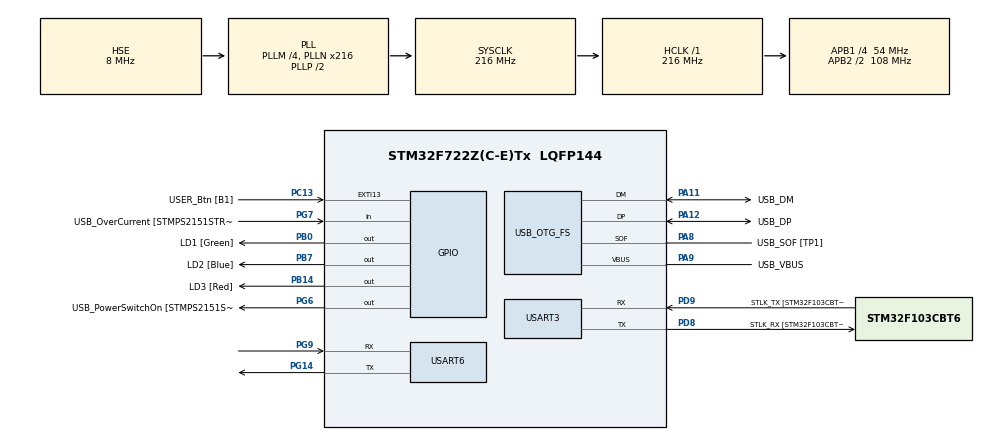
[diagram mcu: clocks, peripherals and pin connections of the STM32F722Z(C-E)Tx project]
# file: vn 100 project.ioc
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Dma.Request0=USART6_RX
Dma.USART6_RX.0.Direction=DMA_PERIPH_TO_MEMORY
Dma.USART6_RX.0.FIFOMode=DMA_FIFOMODE_DISABLE
Dma.USART6_RX.0.Instance=DMA2_Stream1
Dma.USART6_RX.0.MemDataAlignment=DMA_MDATAALIGN_BYTE
Dma.USART6_RX.0.MemInc=DMA_MINC_ENABLE
Dma.USART6_RX.0.Mode=DMA_CIRCULAR
Dma.USART6_RX.0.PeriphDataAlignment=DMA_PDATAALIGN_BYTE
Dma.USART6_RX.0.PeriphInc=DMA_PINC_DISABLE
Dma.USART6_RX.0.Priority=DMA_PRIORITY_HIGH
Mcu.Family=STM32F7
Mcu.Name=STM32F722Z(C-E)Tx
Mcu.Package=LQFP144
NVIC.DMA2_Stream1_IRQn=true\:1\:0\:true\:false\:true\:false\:true\:true
NVIC.PriorityGroup=NVIC_PRIORITYGROUP_4
NVIC.USART6_IRQn=true\:1\:0\:true\:false\:true\:true\:true\:true
PA10.GPIO_Label=USB_ID
PA10.Signal=USB_OTG_FS_ID
PA11.GPIO_Label=USB_DM
PA11.Mode=Device_Only
PA11.Signal=USB_OTG_FS_DM
PA12.GPIO_Label=USB_DP
PA12.Mode=Device_Only
PA12.Signal=USB_OTG_FS_DP
PA13.GPIO_Label=TMS
PA13.Mode=Serial_Wire
PA13.Signal=SYS_JTMS-SWDIO
PA14.GPIO_Label=TCK
PA14.Mode=Serial_Wire
PA14.Signal=SYS_JTCK-SWCLK
PA8.GPIO_Label=USB_SOF [TP1]
PA8.Mode=Activate_SOF_FS
PA8.Signal=USB_OTG_FS_SOF
PA9.GPIO_Label=USB_VBUS
PA9.Mode=Activate_VBUS
PA9.Signal=USB_OTG_FS_VBUS
PB0.GPIO_Label=LD1 [Green]
PB0.Signal=GPIO_Output
PB14.GPIO_Label=LD3 [Red]
PB14.Signal=GPIO_Output
PB3.GPIO_Label=SWO
PB3.Signal=SYS_JTDO-SWO
PB7.GPIO_Label=LD2 [Blue]
PB7.Signal=GPIO_Output
PC13.GPIO_Label=USER_Btn [B1]
PC13.Signal=GPXTI13
PC14-OSC32_IN.Mode=LSE-External-Oscillator
PC14-OSC32_IN.Signal=RCC_OSC32_IN
PC15-OSC32_OUT.Mode=LSE-External-Oscillator
PC15-OSC32_OUT.Signal=RCC_OSC32_OUT
PD8.GPIO_Label=STLK_RX [STM32F103CBT6_PA3]
PD8.Mode=Asynchronous
PD8.Signal=USART3_TX
PD9.GPIO_Label=STLK_TX [STM32F103CBT6_PA2]
PD9.Mode=Asynchronous
PD9.Signal=USART3_RX
PG14.Mode=Asynchronous
PG14.Signal=USART6_TX
PG6.GPIO_Label=USB_PowerSwitchOn [STMPS2151STR_EN]
PG6.Signal=GPIO_Output
PG7.GPIO_Label=USB_OverCurrent [STMPS2151STR_FAULT]
PG7.Signal=GPIO_Input
PG9.Mode=Asynchronous
PG9.Signal=USART6_RX
PH0-OSC_IN.GPIO_Label=MCO
PH0-OSC_IN.Mode=HSE-External-Clock-Source
PH0-OSC_IN.Signal=RCC_OSC_IN
PH1-OSC_OUT.Mode=HSE-External-Clock-Source
PH1-OSC_OUT.Signal=RCC_OSC_OUT
ProjectManager.HeapSize=0x200
ProjectManager.StackSize=0x400
ProjectManager.TargetToolchain=STM32CubeIDE
RCC.48MHZClocksFreq_Value=24000000
RCC.AHBFreq_Value=216000000
RCC.APB1CLKDivider=RCC_HCLK_DIV4
RCC.APB1Freq_Value=54000000
RCC.APB1TimFreq_Value=108000000
RCC.APB2CLKDivider=RCC_HCLK_DIV2
RCC.APB2Freq_Value=108000000
RCC.APB2TimFreq_Value=216000000
RCC.CortexFreq_Value=216000000
RCC.HCLKFreq_Value=216000000
RCC.HSE_VALUE=8000000
RCC.HSI_VALUE=16000000
RCC.PLLM=4
RCC.PLLMUL=RCC_PLL_MUL9
RCC.PLLN=216
RCC.PLLQ=9
RCC.PRESCALERUSB=RCC_USBCLKSOURCE_PLL_DIV1_5
RCC.SYSCLKFreq_VALUE=216000000
RCC.SYSCLKSource=RCC_SYSCLKSOURCE_PLLCLK
RCC.SYSCLKSourceVirtual=RCC_SYSCLKSOURCE_PLLCLK
RCC.USBFreq_Value=48000000
RCC.VCOOutputFreq_Value=432000000
USART3.VirtualMode-Asynchronous=VM_ASYNC
USART6.VirtualMode-Asynchronous=VM_ASYNC
USB_OTG_FS.VirtualMode=Device_Only
board=NUCLEO-F722ZE

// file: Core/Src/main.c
/* USER CODE BEGIN Header */
/**
  ******************************************************************************
  * @file           : main.c
  * @brief          : Main program body
  ******************************************************************************
  * @attention
  *
  * Copyright (c) 2026 STMicroelectronics.
  * All rights reserved.
  *
  * This software is licensed under terms that can be found in the LICENSE file
  * in the root directory of this software component.
  * If no LICENSE file comes with this software, it is provided AS-IS.
  *
  ******************************************************************************
  */
/* USER CODE END Header */
#include "main.h"

/* USER CODE BEGIN Includes */
#include "vn100.h"
#include "vn100_port_stm32.h"
#include "vn100_protocol.h"
#include "vn100_binary.h"
#include "host_link.h"
#include <stdio.h>
/* USER CODE END Includes */

/* USER CODE BEGIN PD */

/* TX timeout to the PC (VCP) - 30 ms: the HAL timeout is a SINGLE budget for
   the WHOLE transfer; 10 ms (~115 B ceiling) would truncate a 12-float
   $VNRRG response (~160 B, buffer 256 B, ~22 ms) EVERY TIME. The VCP applies
   no back-pressure, so blocking is bounded by wire time. Details:
   protocol.md sec 8. */
#define HOST_TX_TIMEOUT_MS 30U

/**
 * Ground-station relay: the STM32 re-publishes every new VN-100 measurement
 * as a clean $VNYMR line to the PC (USART3 / ST-Link VCP), which the
 * dashboard parses. Closes the "dashboard <-> STM32 <-> VN-100" data path
 * over the same VCP as the host command channel (command responses start
 * with "VN...", so they don't interfere with $VNYMR parsing).
 *
 * VN_RELAY_HUMAN=1 additionally prints a 4 Hz human-readable debug line
 * (ignored by the parser; terminal reading only).
 */
#define VN_RELAY_HUMAN   0

/* USER CODE END PD */

UART_HandleTypeDef huart3;
UART_HandleTypeDef huart6;
DMA_HandleTypeDef hdma_usart6_rx;

PCD_HandleTypeDef hpcd_USB_OTG_FS;

/* USER CODE BEGIN PV */

/* FW-F1: FORCE-links newlib-nano's float-printf support - the IN-CODE
   equivalent of the '-u _printf_float' linker flag: creates an undefined
   global symbol, so the linker pulls the float-printf object out of libc to
   resolve it. PRESERVED even if .cproject/the makefile is regenerated (it
   lives in USER CODE). Without it, all %f output (relay $VNYMR + Reg 23/84
   calibration writes) comes out BLANK on real hardware - a SILENT failure
   (invisible in the simulator, since Python uses real floats). BELT+
   SUSPENDERS: the same '-u _printf_float' flag is also in .cproject's
   linker "Other flags" (two independent mechanisms). On first flash,
   visually confirm a known float (e.g. 9.81) doesn't print blank; CubeIDE's
   "Use float with printf from newlib-nano" checkbox can also stay
   checked. */
__asm__(".global _printf_float");

/** VN-100 portable core + STM32 port */
vn100_t       hvn;
vn100_stm32_t hvn_stm;

/** Host command channel (PC <-> STM32) */
host_link_t   hhl;

/** Relay state: packet counter of the last measurement forwarded to the PC (detects new data) */
static uint32_t last_relay_count = 0U;

#if VN_RELAY_HUMAN
/** Timing variable for the optional human-readable debug output */
static uint32_t last_print_tick = 0U;
#endif

/* Relay drop counters - make SILENT loss VISIBLE: without them, a
   missing/truncated frame (HAL_UART_Transmit failure or encoding overflow)
   could go out to the PC with no trace anywhere. Readable via debugger (or,
   later, a 'VN STATS' verb). NOTE: only meaningful on REAL HARDWARE. */
static volatile uint32_t g_host_tx_drop = 0U;      /* TX to PC failed/timed out */
static volatile uint32_t g_relay_encode_fail = 0U; /* frame encoding failed (buffer overflow) */

/* USER CODE END PV */

void SystemClock_Config(void);
static void MX_GPIO_Init(void);
static void MX_DMA_Init(void);
static void MX_USART3_UART_Init(void);
static void MX_USB_OTG_FS_PCD_Init(void);
static void MX_USART6_UART_Init(void);
/* USER CODE BEGIN PFP */
static void on_vn_packet(const vn100_data_t *d, void *user);
static void on_vn_error(vn100_status_t err, void *user);
static void vn_relay(void);
static void vn_forward_response(void);
#if VN_RELAY_HUMAN
static void vn_debug_print(void);
#endif
static int  host_reply(void *ctx, const uint8_t *data, uint16_t len);
static void bringup_detect_baud(void);
/* USER CODE END PFP */

int main(void)
{

  /* MCU Configuration--------------------------------------------------------*/

  /* Reset of all peripherals, Initializes the Flash interface and the Systick. */
  HAL_Init();

  /* Configure the system clock */
  SystemClock_Config();

  /* Initialize all configured peripherals */
  MX_GPIO_Init();
  MX_DMA_Init();
  MX_USART3_UART_Init();
  MX_USB_OTG_FS_PCD_Init();
  MX_USART6_UART_Init();
  /* USER CODE BEGIN 2 */

  /* -- Protocol + binary self-test (no hardware required) -- */
  /* Same vectors as Python: xor("VNYMR")=0x5E, crc16("123456789")=0x31C3 */
  if (!vn100_protocol_selftest() || !vn100_binary_selftest())
  {
      HAL_GPIO_WritePin(LD3_GPIO_Port, LD3_Pin, GPIO_PIN_SET);  /* LD3 red - self-test failure */
      Error_Handler();
  }

  /* -- VN-100 core + STM32 port -- */
  if (vn100_stm32_init(&hvn_stm, &hvn, &huart6,
                       on_vn_packet, on_vn_error, NULL) != VN100_OK)
  {
      HAL_GPIO_WritePin(LD3_GPIO_Port, LD3_Pin, GPIO_PIN_SET);
      Error_Handler();
  }

  /* Start circular DMA RX + IDLE */
  if (vn100_stm32_start(&hvn_stm) != VN100_OK)
  {
      HAL_GPIO_WritePin(LD3_GPIO_Port, LD3_Pin, GPIO_PIN_SET);
      Error_Handler();
  }

  /* -- Host command channel (PC <-> STM32, USART3 VCP) -- */
  host_link_init(&hhl, &hvn, host_reply, NULL);
  __HAL_UART_ENABLE_IT(&huart3, UART_IT_RXNE);       /* enable the RX interrupt in code */
  HAL_NVIC_SetPriority(USART3_IRQn, 5, 0);
  HAL_NVIC_EnableIRQ(USART3_IRQn);

  /* -- Bring-up: detect the sensor's actual baud rate --
     If the sensor's saved baud isn't 115200 (e.g. previously set to
     921600), try candidate rates and stay on whichever has data flowing;
     fall back to 115200 if none do. Called AFTER host_link_init so PC
     commands are still processed during the scan. */
  bringup_detect_baud();

  /* -- Deterministic startup: set the sensor to default ASCII $VNYMR @ 50 Hz --
     (demo mode; 'VN MODE BINARY' switches to 200 Hz binary in normal
     operation.) Ensures the stream starts in the format firmware expects
     after reset, instead of trusting whatever the sensor had saved (baud
     already confirmed by bringup_detect_baud). */
  (void)vn100_set_output_mode(&hvn, VN100_FMT_ASCII, 50U);

  /* Blue LED - system ready */
  HAL_GPIO_WritePin(LD2_GPIO_Port, LD2_Pin, GPIO_PIN_SET);

  /* USER CODE END 2 */

  /* Infinite loop */
  while (1)
  {

    /* USER CODE BEGIN 3 */

    /* Process host commands (dashboard -> STM32 -> VN-100) */
    host_link_process(&hhl);

    /* -- Ground-station relay: forward new measurements to the PC as $VNYMR -- */
    vn_relay();

    /* -- Forward sensor command responses ($VNRRG/$VNWRG) to the PC -- */
    vn_forward_response();

#if VN_RELAY_HUMAN
    /* -- Optional human-readable debug output (250 ms = 4 Hz) -- */
    if ((HAL_GetTick() - last_print_tick) >= 250U)
    {
        last_print_tick = HAL_GetTick();
        vn_debug_print();
    }
#endif

  }
  /* USER CODE END 3 */
}

void SystemClock_Config(void)
{
  RCC_OscInitTypeDef RCC_OscInitStruct = {0};
  RCC_ClkInitTypeDef RCC_ClkInitStruct = {0};

  /** Configure LSE Drive Capability
  */
  HAL_PWR_EnableBkUpAccess();

  /** Configure the main internal regulator output voltage
  */
  __HAL_RCC_PWR_CLK_ENABLE();
  __HAL_PWR_VOLTAGESCALING_CONFIG(PWR_REGULATOR_VOLTAGE_SCALE1);

  /** Initializes the RCC Oscillators according to the specified parameters
  * in the RCC_OscInitTypeDef structure.
  */
  RCC_OscInitStruct.OscillatorType = RCC_OSCILLATORTYPE_HSE;
  RCC_OscInitStruct.HSEState = RCC_HSE_BYPASS;
  RCC_OscInitStruct.PLL.PLLState = RCC_PLL_ON;
  RCC_OscInitStruct.PLL.PLLSource = RCC_PLLSOURCE_HSE;
  RCC_OscInitStruct.PLL.PLLM = 4;
  RCC_OscInitStruct.PLL.PLLN = 216;
  RCC_OscInitStruct.PLL.PLLP = RCC_PLLP_DIV2;
  RCC_OscInitStruct.PLL.PLLQ = 9;
  if (HAL_RCC_OscConfig(&RCC_OscInitStruct) != HAL_OK)
  {
    Error_Handler();
  }

  /** Activate the Over-Drive mode
  */
  if (HAL_PWREx_EnableOverDrive() != HAL_OK)
  {
    Error_Handler();
  }

  /** Initializes the CPU, AHB and APB buses clocks
  */
  RCC_ClkInitStruct.ClockType = RCC_CLOCKTYPE_HCLK|RCC_CLOCKTYPE_SYSCLK
                              |RCC_CLOCKTYPE_PCLK1|RCC_CLOCKTYPE_PCLK2;
  RCC_ClkInitStruct.SYSCLKSource = RCC_SYSCLKSOURCE_PLLCLK;
  RCC_ClkInitStruct.AHBCLKDivider = RCC_SYSCLK_DIV1;
  RCC_ClkInitStruct.APB1CLKDivider = RCC_HCLK_DIV4;
  RCC_ClkInitStruct.APB2CLKDivider = RCC_HCLK_DIV2;

  if (HAL_RCC_ClockConfig(&RCC_ClkInitStruct, FLASH_LATENCY_7) != HAL_OK)
  {
    Error_Handler();
  }
}

static void MX_USART3_UART_Init(void)
{

  huart3.Instance = USART3;
  huart3.Init.BaudRate = 115200;
  huart3.Init.WordLength = UART_WORDLENGTH_8B;
  huart3.Init.StopBits = UART_STOPBITS_1;
  huart3.Init.Parity = UART_PARITY_NONE;
  huart3.Init.Mode = UART_MODE_TX_RX;
  huart3.Init.HwFlowCtl = UART_HWCONTROL_NONE;
  huart3.Init.OverSampling = UART_OVERSAMPLING_16;
  huart3.Init.OneBitSampling = UART_ONE_BIT_SAMPLE_DISABLE;
  huart3.AdvancedInit.AdvFeatureInit = UART_ADVFEATURE_NO_INIT;
  if (HAL_UART_Init(&huart3) != HAL_OK)
  {
    Error_Handler();
  }

}

static void MX_USART6_UART_Init(void)
{

  huart6.Instance = USART6;
  huart6.Init.BaudRate = 115200;
  huart6.Init.WordLength = UART_WORDLENGTH_8B;
  huart6.Init.StopBits = UART_STOPBITS_1;
  huart6.Init.Parity = UART_PARITY_NONE;
  huart6.Init.Mode = UART_MODE_TX_RX;
  huart6.Init.HwFlowCtl = UART_HWCONTROL_NONE;
  huart6.Init.OverSampling = UART_OVERSAMPLING_16;
  huart6.Init.OneBitSampling = UART_ONE_BIT_SAMPLE_DISABLE;
  huart6.AdvancedInit.AdvFeatureInit = UART_ADVFEATURE_NO_INIT;
  if (HAL_UART_Init(&huart6) != HAL_OK)
  {
    Error_Handler();
  }

}

static void MX_USB_OTG_FS_PCD_Init(void)
{

  hpcd_USB_OTG_FS.Instance = USB_OTG_FS;
  hpcd_USB_OTG_FS.Init.dev_endpoints = 6;
  hpcd_USB_OTG_FS.Init.speed = PCD_SPEED_FULL;
  hpcd_USB_OTG_FS.Init.dma_enable = DISABLE;
  hpcd_USB_OTG_FS.Init.phy_itface = PCD_PHY_EMBEDDED;
  hpcd_USB_OTG_FS.Init.Sof_enable = ENABLE;
  hpcd_USB_OTG_FS.Init.low_power_enable = DISABLE;
  hpcd_USB_OTG_FS.Init.lpm_enable = DISABLE;
  hpcd_USB_OTG_FS.Init.battery_charging_enable = ENABLE;
  hpcd_USB_OTG_FS.Init.vbus_sensing_enable = ENABLE;
  hpcd_USB_OTG_FS.Init.use_dedicated_ep1 = DISABLE;
  if (HAL_PCD_Init(&hpcd_USB_OTG_FS) != HAL_OK)
  {
    Error_Handler();
  }

}

static void MX_DMA_Init(void)
{

  /* DMA controller clock enable */
  __HAL_RCC_DMA2_CLK_ENABLE();

  /* DMA interrupt init */
  /* DMA2_Stream1_IRQn interrupt configuration */
  HAL_NVIC_SetPriority(DMA2_Stream1_IRQn, 1, 0);
  HAL_NVIC_EnableIRQ(DMA2_Stream1_IRQn);

}

static void MX_GPIO_Init(void)
{
  GPIO_InitTypeDef GPIO_InitStruct = {0};

  /* GPIO Ports Clock Enable */
  __HAL_RCC_GPIOC_CLK_ENABLE();
  __HAL_RCC_GPIOH_CLK_ENABLE();
  __HAL_RCC_GPIOB_CLK_ENABLE();
  __HAL_RCC_GPIOD_CLK_ENABLE();
  __HAL_RCC_GPIOG_CLK_ENABLE();
  __HAL_RCC_GPIOA_CLK_ENABLE();

  /*Configure GPIO pin Output Level */
  HAL_GPIO_WritePin(GPIOB, LD1_Pin|LD3_Pin|LD2_Pin, GPIO_PIN_RESET);

  /*Configure GPIO pin Output Level */
  HAL_GPIO_WritePin(USB_PowerSwitchOn_GPIO_Port, USB_PowerSwitchOn_Pin, GPIO_PIN_RESET);

  /*Configure GPIO pin : USER_Btn_Pin */
  GPIO_InitStruct.Pin = USER_Btn_Pin;
  GPIO_InitStruct.Mode = GPIO_MODE_IT_RISING;
  GPIO_InitStruct.Pull = GPIO_NOPULL;
  HAL_GPIO_Init(USER_Btn_GPIO_Port, &GPIO_InitStruct);

  /*Configure GPIO pins : LD1_Pin LD3_Pin LD2_Pin */
  GPIO_InitStruct.Pin = LD1_Pin|LD3_Pin|LD2_Pin;
  GPIO_InitStruct.Mode = GPIO_MODE_OUTPUT_PP;
  GPIO_InitStruct.Pull = GPIO_NOPULL;
  GPIO_InitStruct.Speed = GPIO_SPEED_FREQ_LOW;
  HAL_GPIO_Init(GPIOB, &GPIO_InitStruct);

  /*Configure GPIO pin : USB_PowerSwitchOn_Pin */
  GPIO_InitStruct.Pin = USB_PowerSwitchOn_Pin;
  GPIO_InitStruct.Mode = GPIO_MODE_OUTPUT_PP;
  GPIO_InitStruct.Pull = GPIO_NOPULL;
  GPIO_InitStruct.Speed = GPIO_SPEED_FREQ_LOW;
  HAL_GPIO_Init(USB_PowerSwitchOn_GPIO_Port, &GPIO_InitStruct);

  /*Configure GPIO pin : USB_OverCurrent_Pin */
  GPIO_InitStruct.Pin = USB_OverCurrent_Pin;
  GPIO_InitStruct.Mode = GPIO_MODE_INPUT;
  GPIO_InitStruct.Pull = GPIO_NOPULL;
  HAL_GPIO_Init(USB_OverCurrent_GPIO_Port, &GPIO_InitStruct);

}

/* USER CODE BEGIN 4 */

/**
  * @brief  Successful-packet callback - toggles the green LED.
  * @note   LED/GPIO is the APPLICATION's responsibility, not the core's (for portability).
  */
static void on_vn_packet(const vn100_data_t *d, void *user)
{
    (void)d; (void)user;
    HAL_GPIO_TogglePin(LD1_GPIO_Port, LD1_Pin);   /* LD1 green - valid packet */
}

/**
  * @brief  Error callback - toggles the red LED.
  */
static void on_vn_error(vn100_status_t err, void *user)
{
    (void)err; (void)user;
    HAL_GPIO_TogglePin(LD3_GPIO_Port, LD3_Pin);  /* LD3 red - error */
}

/**
  * @brief  Forwards a new measurement to the PC (VCP) as a $VNYMR line, if one arrived.
  * @note   Called from the main loop (not an ISR), so the blocking
  *         HAL_UART_Transmit is safe. Always sends the LATEST data; if the
  *         loop can't keep up with the sensor rate, intermediate packets
  *         are skipped (correct for a live view). %f output requires
  *         "float with printf" (newlib-nano). Could move to DMA-TX later
  *         for higher throughput.
  */
static void vn_relay(void)
{
    vn100_data_t d;
    char     abuf[160];                 /* ASCII $VNYMR buffer */
    uint8_t  bbuf[VN100_BIN_FRAME_LEN]; /* binary frame buffer */
    int  n;
    uint32_t cnt;

    /* Measurement AND packet_count are read in a SINGLE critical section:
       reading the counter outside it could let an ISR insert a new packet
       in between, publishing the same measurement twice (a repeated frame
       in the latest-sample relay). */
    if (!vn100_get_data_counted(&hvn, &d, &cnt))
    {
        return;
    }
    if (cnt == last_relay_count)
    {
        return;                         /* no new data */
    }
    last_relay_count = cnt;

    /* Stream goes out in the selected format (hhl.out_fmt, set via VN
       MODE): BINARY -> 42B frame; ASCII -> $VNYMR line. The PC's dual-mode
       parser decodes whichever arrives; command responses always arrive as
       ASCII and the parser separates them out. */
    if (hhl.out_fmt == VN100_FMT_BINARY)
    {
        n = vn100_binary_encode(bbuf, (int)sizeof(bbuf), &d);
        if (n > 0)
        {
            if (HAL_UART_Transmit(&huart3, bbuf, (uint16_t)n,
                                  HOST_TX_TIMEOUT_MS) != HAL_OK)
            {
                g_host_tx_drop++;          /* make a truncated/dropped frame VISIBLE */
            }
        }
        else
        {
            g_relay_encode_fail++;         /* encoding overflowed -> don't drop the frame SILENTLY */
        }
    }
    else
    {
        n = vn100_encode_vnymr(abuf, (int)sizeof(abuf), &d);
        if (n > 0)
        {
            if (HAL_UART_Transmit(&huart3, (uint8_t *)abuf, (uint16_t)n,
                                  HOST_TX_TIMEOUT_MS) != HAL_OK)
            {
                g_host_tx_drop++;
            }
        }
        else
        {
            g_relay_encode_fail++;
        }
    }
}

/**
  * @brief  Forwards a command response from the sensor ($VNRRG/$VNWRG) to the PC (VCP).
  * @note   How register reads (e.g. Reg 46/47 HSI status) reach the PC: the
  *         sensor's reply arrives on USART6, the core places it in the
  *         mailbox, and this function forwards it verbatim from the main
  *         loop.
  */
static void vn_forward_response(void)
{
    char resp[VN100_RESP_MAX];
    uint16_t rlen = 0U;

    /* Drain the response QUEUE COMPLETELY each pass, so back-to-back
       $VNRRG responses (e.g. Reg 23+44 for a snapshot) all go out in the
       same pass, not one at a time. */
    while (vn100_take_response(&hvn, resp, sizeof(resp), &rlen) && (rlen > 0U))
    {
        HAL_UART_Transmit(&huart3, (uint8_t *)resp, rlen, HOST_TX_TIMEOUT_MS);
    }
}

#if VN_RELAY_HUMAN
/**
  * @brief  Prints the latest IMU data over USART3 (ST-Link VCP).
  * @note   %f output requires "Use float with printf" (newlib-nano) enabled
  *         in the project settings; otherwise numbers print blank.
  */
static void vn_debug_print(void)
{
    vn100_data_t d;
    char buf[160];
    int len;

    if (!vn100_get_data(&hvn, &d))
    {
        const char msg[] = "[VN100] Waiting for data...\r\n";
        HAL_UART_Transmit(&huart3, (uint8_t *)msg, (uint16_t)(sizeof(msg) - 1U), 100U);
        return;
    }

    len = snprintf(buf, sizeof(buf),
                   "[VN100] YPR: %7.2f %7.2f %7.2f | Gyro: %7.4f %7.4f %7.4f | "
                   "Acc: %6.2f %6.2f %6.2f | Pkt:%lu Err:%lu\r\n",
                   d.yaw, d.pitch, d.roll,
                   d.gyro_x, d.gyro_y, d.gyro_z,
                   d.accel_x, d.accel_y, d.accel_z,
                   (unsigned long)hvn.packet_count,
                   (unsigned long)hvn.error_count);

    if (len > 0)
    {
        HAL_UART_Transmit(&huart3, (uint8_t *)buf, (uint16_t)len, 100U);
    }
}
#endif /* VN_RELAY_HUMAN */

/**
  * @brief  Host channel reply function - writes to the PC over USART3 (VCP).
  */
static int host_reply(void *ctx, const uint8_t *data, uint16_t len)
{
    (void)ctx;
    return (HAL_UART_Transmit(&huart3, (uint8_t *)data, len, HOST_TX_TIMEOUT_MS) == HAL_OK)
               ? (int)len : -1;
}

/* -- Also drain the ring on DMA half/full-transfer --------------
   Draining can't depend on IDLE alone: under a continuous/high-Hz stream
   the ring must not be overwritten before being read, even if the line
   never goes idle. HAL calls these weak callbacks from the DMA IRQ; trigger
   vn100_stm32_drain() for USART6 (the sensor). */
void HAL_UART_RxHalfCpltCallback(UART_HandleTypeDef *huart)
{
    if (huart == &huart6)
    {
        vn100_stm32_drain(&hvn_stm);
    }
}

void HAL_UART_RxCpltCallback(UART_HandleTypeDef *huart)
{
    if (huart == &huart6)
    {
        vn100_stm32_drain(&hvn_stm);
    }
}

/* -- Reset DMA reception on a sensor-line error ----------------
   Flags are cleared in the USART6 ISR before HAL sees them, so this
   callback rarely fires; it's still a SAFETY NET that restarts reception if
   an error ever cancels the DMA. */
void HAL_UART_ErrorCallback(UART_HandleTypeDef *huart)
{
    if (huart == &huart6)
    {
        HAL_UART_DMAStop(&huart6);
        (void)vn100_stm32_start(&hvn_stm);          /* re-arm: last_pos=0 + restart circular DMA */
        HAL_GPIO_WritePin(LD3_GPIO_Port, LD3_Pin, GPIO_PIN_SET);  /* red LED: line error */
    }
}

/* -- Bring-up automatic baud detection --------------------------
   If the sensor's saved baud isn't 115200 (e.g. previously set to 921600),
   the STM32's 115200 commands come out as garbage and the link dies. Tries
   each candidate in turn, stays on whichever has valid packets flowing, and
   falls back to 115200 (the out-of-box default) if none do - a failed scan
   is at worst the previous (safe) behavior.
   NOTE: only verifiable on REAL hardware; the simulator has no USART6.
   LIMIT: the detection signal is only a valid $VNYMR/binary packet
   (packet_count). If the sensor was previously saved with a DIFFERENT
   async message type (e.g. $VNQMR) AND a non-standard baud, no packets are
   counted at that baud and it falls back to 115200 (a narrow edge case; a
   factory-fresh sensor works fine at 115200). The IDLE interrupt also stays
   enabled across the baud switch; an IDLE firing mid-transition could read
   stale NDTR off the stopped DMA, but the read stays within the buffer and
   the parser rejects the garbage, so it's harmless. */
static void bringup_detect_baud(void)
{
    static const uint32_t bauds[] = { 115200U, 921600U, 230400U, 460800U };
    uint32_t i;

    for (i = 0U; i < (sizeof(bauds) / sizeof(bauds[0])); i++)
    {
        uint32_t start_cnt = hvn.packet_count;
        uint32_t t0;

        if (bauds[i] != huart6.Init.BaudRate)
        {
            (void)vn100_stm32_stop(&hvn_stm);   /* stop DMA + disable IDLE IT (DMAStop alone leaves IDLE enabled) */
            huart6.Init.BaudRate = bauds[i];
            if (HAL_UART_Init(&huart6) != HAL_OK)
            {
                continue;
            }
            (void)vn100_stm32_start(&hvn_stm);
        }
        /* Is a valid $VNYMR/binary packet flowing at this baud for ~300 ms? (the ISR counts) */
        t0 = HAL_GetTick();
        while ((HAL_GetTick() - t0) < 300U)
        {
            host_link_process(&hhl);                /* don't go deaf to PC commands during this */
        }
        if (hvn.packet_count != start_cnt)
        {
            return;                                 /* data present -> stay at this baud */
        }
    }
    /* No data at any baud -> fall back to 115200 (sensor may be quiet; config can enable it later) */
    (void)vn100_stm32_stop(&hvn_stm);           /* stop DMA + disable IDLE IT */
    huart6.Init.BaudRate = 115200U;
    (void)HAL_UART_Init(&huart6);
    (void)vn100_stm32_start(&hvn_stm);
}

/* USER CODE END 4 */

void Error_Handler(void)
{
  __disable_irq();
  while (1)
  {
  }
}
